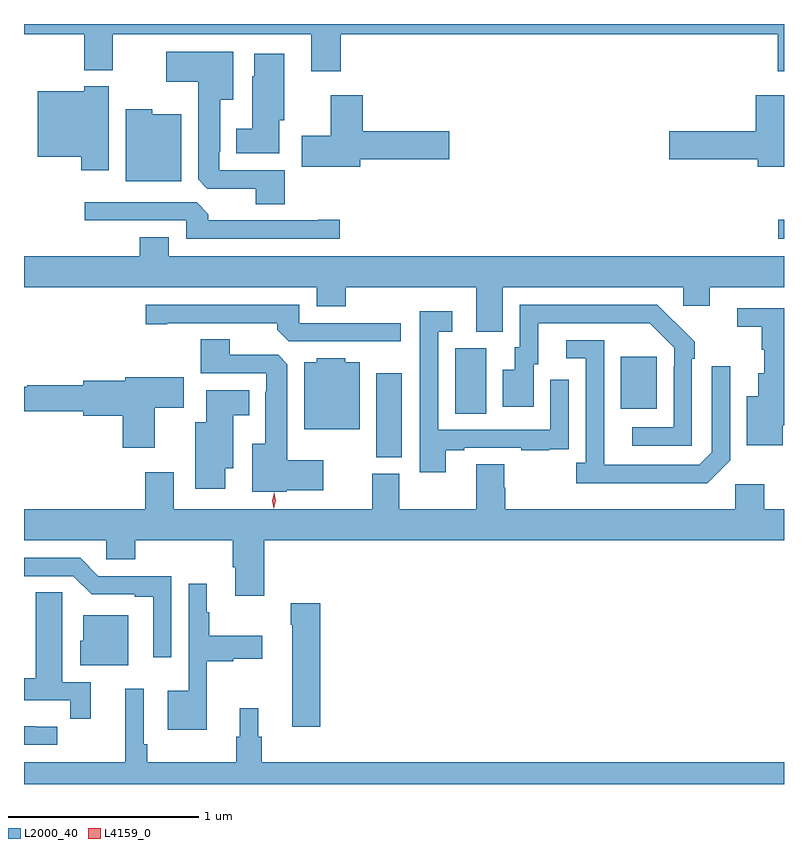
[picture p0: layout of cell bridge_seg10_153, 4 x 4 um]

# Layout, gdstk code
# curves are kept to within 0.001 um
import gdstk
lib = gdstk.Library(unit=1e-6, precision=1e-09)
def R(c, l, rs):  # rectangles x0, y0, x1, y1
    for r in rs: c.add(gdstk.rectangle(r[:2], r[2:], *l))
def P(c, l, *ps):  # polygons
    for p in ps: c.add(gdstk.Polygon(p, *l))
L2000_40 = (2000, 40)
L4159_0 = (4159, 0)

bridge_seg10_153 = lib.new_cell('bridge_seg10_153')
R(bridge_seg10_153, L2000_40, [(263.03,1255.465,263.164,1255.909), (263.444,1255.696,263.608,1256.04), (264.317,1255.721,264.505,1255.996), (265.146,1256.616,265.175,1256.717)])
P(bridge_seg10_153, L2000_40, [(262.841,1257.692),(265.142,1257.692),(265.142,1257.498),(265.175,1257.498),(265.175,1257.746),(261.175,1257.746),(261.175,1257.692),(261.491,1257.692),(261.491,1257.503),(261.643,1257.503),(261.643,1257.692),(262.688,1257.692),(262.688,1257.498),(262.841,1257.498)],
  [(262.547,1256.976),(262.203,1256.976),(262.203,1257.073),(262.207,1257.073),(262.207,1257.347),(262.276,1257.347),(262.276,1257.601),(261.924,1257.601),(261.924,1257.443),(262.091,1257.443),(262.091,1256.929),(262.14,1256.88),(262.394,1256.88),(262.394,1256.797),(262.547,1256.797)],
  [(262.519,1257.24),(262.546,1257.24),(262.546,1257.589),(262.388,1257.589),(262.388,1257.471),(262.376,1257.471),(262.376,1257.196),(262.292,1257.196),(262.292,1257.065),(262.519,1257.065)],
  [(261.622,1257.418),(261.492,1257.418),(261.492,1257.391),(261.248,1257.391),(261.248,1257.047),(261.476,1257.047),(261.476,1256.976),(261.622,1256.976)],
  [(265.175,1257.37),(265.025,1257.37),(265.025,1257.182),(264.57,1257.182),(264.57,1257.035),(265.037,1257.035),(265.037,1256.996),(265.175,1256.996)],
  [(262.945,1257.035),(263.413,1257.035),(263.413,1257.182),(262.958,1257.182),(262.958,1257.37),(262.79,1257.37),(262.79,1257.159),(262.638,1257.159),(262.638,1256.996),(262.945,1256.996)],
  [(262.003,1257.271),(261.849,1257.271),(261.849,1257.298),(261.71,1257.298),(261.71,1256.918),(262.003,1256.918)],
  [(262.837,1256.717),(262.724,1256.717),(262.724,1256.712),(262.145,1256.712),(262.145,1256.746),(262.083,1256.808),(261.495,1256.808),(261.495,1256.712),(262.029,1256.712),(262.029,1256.616),(262.837,1256.616)],
  [(261.937,1256.623),(261.785,1256.623),(261.785,1256.524),(261.175,1256.524),(261.175,1256.36),(262.715,1256.36),(262.715,1256.261),(262.868,1256.261),(262.868,1256.36),(263.555,1256.36),(263.555,1256.125),(263.695,1256.125),(263.695,1256.36),(264.645,1256.36),(264.645,1256.262),(264.784,1256.262),(264.784,1256.36),(265.175,1256.36),(265.175,1256.524),(261.937,1256.524)],
  [(263.158,1256.172),(262.623,1256.172),(262.623,1256.268),(261.816,1256.268),(261.816,1256.167),(261.928,1256.167),(261.928,1256.172),(262.508,1256.172),(262.508,1256.138),(262.569,1256.076),(263.158,1256.076)],
  [(264.69,1255.985),(264.705,1255.985),(264.705,1256.073),(264.508,1256.268),(263.784,1256.268),(263.784,1256.046),(263.759,1256.046),(263.759,1255.927),(263.696,1255.927),(263.696,1255.731),(263.857,1255.731),(263.857,1255.956),(263.881,1255.956),(263.881,1256.172),(264.469,1256.172),(264.597,1256.043),(264.597,1255.943),(264.594,1255.943),(264.594,1255.623),(264.375,1255.623),(264.375,1255.527),(264.69,1255.527)],
  [(265.168,1255.633),(265.175,1255.633),(265.175,1256.25),(264.93,1256.25),(264.93,1256.152),(265.059,1256.152),(265.059,1256.031),(265.07,1256.031),(265.07,1255.909),(265.04,1255.909),(265.04,1255.786),(264.98,1255.786),(264.98,1255.529),(265.168,1255.529)],
  [(263.395,1255.503),(263.491,1255.503),(263.491,1255.515),(263.791,1255.515),(263.791,1255.503),(263.939,1255.503),(263.939,1255.509),(264.041,1255.509),(264.041,1255.618),(264.042,1255.618),(264.042,1255.873),(263.946,1255.873),(263.946,1255.611),(263.355,1255.611),(263.355,1256.127),(263.428,1256.127),(263.428,1256.233),(263.259,1256.233),(263.259,1255.386),(263.395,1255.386)],
  [(262.557,1255.292),(262.75,1255.292),(262.75,1255.45),(262.561,1255.45),(262.561,1255.955),(262.512,1256.004),(262.258,1256.004),(262.258,1256.087),(262.106,1256.087),(262.106,1255.908),(262.449,1255.908),(262.449,1255.811),(262.445,1255.811),(262.445,1255.537),(262.376,1255.537),(262.376,1255.283),(262.557,1255.283)],
  [(264.891,1255.449),(264.891,1255.945),(264.795,1255.945),(264.795,1255.491),(264.729,1255.425),(264.229,1255.425),(264.228,1256.082),(264.03,1256.082),(264.03,1255.986),(264.132,1255.986),(264.132,1255.438),(264.081,1255.438),(264.081,1255.328),(264.77,1255.328)],
  [(262.942,1255.966),(262.866,1255.966),(262.866,1255.987),(262.716,1255.987),(262.716,1255.966),(262.649,1255.966),(262.649,1255.613),(262.942,1255.613)],
  [(261.862,1255.726),(262.015,1255.726),(262.015,1255.888),(261.707,1255.888),(261.707,1255.868),(261.488,1255.868),(261.488,1255.844),(261.192,1255.844),(261.192,1255.837),(261.175,1255.837),(261.175,1255.708),(261.488,1255.708),(261.488,1255.685),(261.695,1255.685),(261.695,1255.515),(261.862,1255.515)],
  [(262.234,1255.409),(262.276,1255.409),(262.276,1255.688),(262.36,1255.688),(262.36,1255.819),(262.133,1255.819),(262.133,1255.651),(262.076,1255.651),(262.076,1255.299),(262.234,1255.299)],
  [(262.439,1255.028),(265.175,1255.028),(265.175,1255.192),(265.07,1255.192),(265.07,1255.324),(264.918,1255.324),(264.918,1255.192),(263.708,1255.192),(263.708,1255.305),(263.703,1255.305),(263.703,1255.43),(263.555,1255.43),(263.555,1255.192),(263.149,1255.192),(263.149,1255.38),(263.009,1255.38),(263.009,1255.192),(261.964,1255.192),(261.964,1255.387),(261.812,1255.387),(261.812,1255.192),(261.175,1255.192),(261.175,1255.028),(261.609,1255.028),(261.609,1254.93),(261.761,1254.93),(261.761,1255.028),(262.274,1255.028),(262.274,1254.886),(262.286,1254.886),(262.286,1254.738),(262.439,1254.738)],
  [(261.951,1254.84),(261.567,1254.84),(261.471,1254.936),(261.175,1254.936),(261.175,1254.84),(261.435,1254.84),(261.531,1254.744),(261.758,1254.744),(261.758,1254.732),(261.854,1254.732),(261.854,1254.414),(261.951,1254.414)],
  [(262.138,1254.392),(262.275,1254.392),(262.275,1254.404),(262.429,1254.404),(262.429,1254.526),(262.15,1254.526),(262.15,1254.65),(262.138,1254.65),(262.138,1254.799),(262.041,1254.799),(262.041,1254.238),(261.932,1254.238),(261.932,1254.032),(262.138,1254.032)],
  [(261.527,1254.282),(261.376,1254.282),(261.376,1254.644),(261.375,1254.644),(261.375,1254.755),(261.236,1254.755),(261.236,1254.303),(261.175,1254.303),(261.175,1254.186),(261.418,1254.186),(261.418,1254.09),(261.527,1254.09)],
  [(262.733,1254.697),(262.579,1254.697),(262.579,1254.584),(262.586,1254.584),(262.586,1254.048),(262.733,1254.048)],
  [(261.724,1254.634),(261.488,1254.634),(261.488,1254.501),(261.47,1254.501),(261.47,1254.371),(261.724,1254.371)],
  [(265.175,1253.86),(262.427,1253.86),(262.427,1253.994),(262.408,1253.994),(262.408,1254.145),(262.31,1254.145),(262.31,1253.994),(262.291,1253.994),(262.291,1253.86),(261.824,1253.86),(261.824,1253.956),(261.804,1253.956),(261.804,1254.247),(261.707,1254.247),(261.707,1253.86),(261.175,1253.86),(261.175,1253.746),(265.175,1253.746)],
  [(261.349,1254.048),(261.236,1254.048),(261.236,1254.049),(261.175,1254.049),(261.175,1253.952),(261.349,1253.952)])
P(bridge_seg10_153, L4159_0, [(262.49,1255.197),(262.49,1255.197),(262.481,1255.238),(262.491,1255.279),(262.491,1255.279),(262.492,1255.279),(262.501,1255.238),(262.49,1255.197)])

lib.write_gds('bridge_seg10_153.gds')
